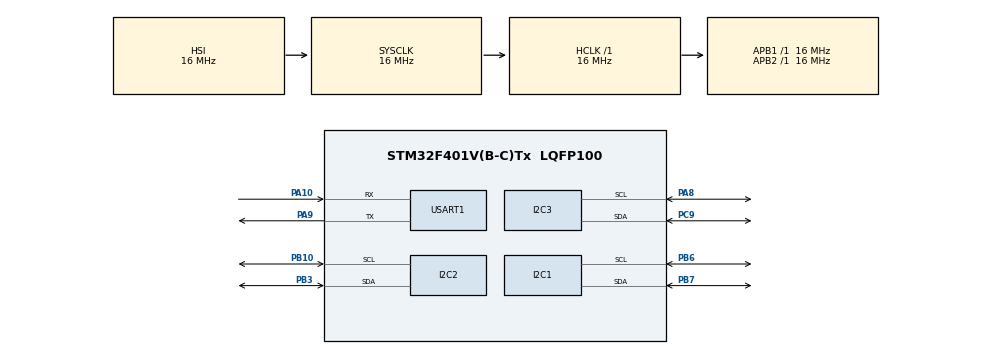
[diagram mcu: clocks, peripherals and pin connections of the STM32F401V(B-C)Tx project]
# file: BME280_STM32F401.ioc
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Mcu.Family=STM32F4
Mcu.Name=STM32F401V(B-C)Tx
Mcu.Package=LQFP100
NVIC.PriorityGroup=NVIC_PRIORITYGROUP_4
PA10.Mode=Asynchronous
PA10.Signal=USART1_RX
PA13.Mode=Serial_Wire
PA13.Signal=SYS_JTMS-SWDIO
PA14.Mode=Serial_Wire
PA14.Signal=SYS_JTCK-SWCLK
PA8.Mode=I2C
PA8.Signal=I2C3_SCL
PA9.Mode=Asynchronous
PA9.Signal=USART1_TX
PB10.Mode=I2C
PB10.Signal=I2C2_SCL
PB3.Mode=I2C
PB3.Signal=I2C2_SDA
PB6.Mode=I2C
PB6.Signal=I2C1_SCL
PB7.Mode=I2C
PB7.Signal=I2C1_SDA
PC9.Mode=I2C
PC9.Signal=I2C3_SDA
ProjectManager.HeapSize=0x200
ProjectManager.StackSize=0x400
ProjectManager.TargetToolchain=STM32CubeIDE
RCC.AHBFreq_Value=16000000
RCC.APB1Freq_Value=16000000
RCC.APB2Freq_Value=16000000
RCC.CortexFreq_Value=16000000
RCC.HSE_VALUE=25000000
RCC.HSI_VALUE=16000000
RCC.LSE_VALUE=32768
RCC.SYSCLKFreq_VALUE=16000000
RCC.VCOOutputFreq_Value=192000000
USART1.VirtualMode=VM_ASYNC
board=custom

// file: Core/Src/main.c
/* USER CODE BEGIN Header */
/**
  ******************************************************************************
  * @file           : main.c
  * @brief          : Main program body
  ******************************************************************************
  * @attention
  *
  * Copyright (c) 2023 STMicroelectronics.
  * All rights reserved.
  *
  * This software is licensed under terms that can be found in the LICENSE file
  * in the root directory of this software component.
  * If no LICENSE file comes with this software, it is provided AS-IS.
  *
  ******************************************************************************
  */
/* USER CODE END Header */
#include "main.h"

/* USER CODE BEGIN Includes */
#include <stdlib.h>
#include <string.h>
#include <stdio.h>
#include "sensors.h"
#include "queue.h"
/* USER CODE END Includes */

I2C_HandleTypeDef hi2c1;
I2C_HandleTypeDef hi2c2;
I2C_HandleTypeDef hi2c3;

UART_HandleTypeDef huart1;

/* USER CODE BEGIN PV */
// Assume I defined a .c file in which I implement the bodies of the function defined in sensors.h file
// and these values are coming from this .c file.
extern float temperature;
extern float humidity;
extern float co2;
float temp_arr[10];
float humi_arr[10];
float co2_arr[10];
uint8_t filtered_arr_size;
float *filtered_temp_arr;
float *filtered_humi_arr;
float *filtered_co2_arr;
struct queueNode **headPtr_temp;
struct queueNode **tailPtr_temp;
struct queueNode **headPtr_humi;
struct queueNode **tailPtr_humi;
struct queueNode **headPtr_co2;
struct queueNode **tailPtr_co2;
char error_msg[20];
char output[50];

/* USER CODE END PV */

void SystemClock_Config(void);
static void MX_GPIO_Init(void);
static void MX_I2C1_Init(void);
static void MX_USART1_UART_Init(void);
static void MX_I2C2_Init(void);
static void MX_I2C3_Init(void);
/* USER CODE BEGIN PFP */

float  *filter_sensor_value(float *raw_sensor_value, size_t size, uint8_t window_size);
void	sort_array(float *raw_sensor_value, size_t size);
void 	swap(float *n1, float *n2);
/* USER CODE END PFP */

int main(void)
{
  /* USER CODE BEGIN 1 */
	int idx = 0;
	uint8_t window_size = 3;
	headPtr_temp = tailPtr_temp = NULL;
	headPtr_humi = tailPtr_humi = NULL;
	headPtr_co2 = tailPtr_co2 = NULL;
  /* USER CODE END 1 */

  /* MCU Configuration--------------------------------------------------------*/

  /* Reset of all peripherals, Initializes the Flash interface and the Systick. */
  HAL_Init();

  /* Configure the system clock */
  SystemClock_Config();

  /* Initialize all configured peripherals */
  MX_GPIO_Init();
  MX_I2C1_Init();
  MX_USART1_UART_Init();
  MX_I2C2_Init();
  MX_I2C3_Init();
  /* USER CODE BEGIN 2 */
  //BME_280_config(OSRS_2, OSRS_16, OSRS_1, NORMAL_MODE, SB_0p5_MS, FLT_COEFF_16);
  // Sensor initialization
  if (initTempSensor() != HAL_OK)
  {
	  strcpy(error_msg,"Temp Sensor Init Failed!");
	  return SENSOR_ERROR;
  }
  if (initHumiditySensor() != HAL_OK)
  {
	  strcpy(error_msg, "Humidity Sensor Init Failed!");
	  return SENSOR_ERROR;
  }
  if (initCO2Sensor() != HAL_OK)
  {
	  strcpy(error_msg, "CO2 Sensor Init Failed!");
	  return SENSOR_ERROR;
  }
  /* USER CODE END 2 */

  /* Infinite loop */
  /* USER CODE BEGIN WHILE */
  while (1)
  {
	  sprintf(output, "Temp: %.2f - Humidity: %.2f - CO2: %.2f\r\n", temperature, humidity, co2);
	  HAL_UART_Transmit(&huart1, (uint8_t*)output, strlen(output), 100);
	  HAL_Delay(50);
	  temp_arr[idx] = temperature;
	  humi_arr[idx] = humidity;
	  co2_arr[idx++] = co2;
	  if (idx == 10)
	  {
		  filtered_temp_arr = filter_sensor_value(temp_arr, idx, window_size);
		  filtered_humi_arr = filter_sensor_value(humi_arr, idx, window_size);
		  filtered_co2_arr = filter_sensor_value(co2_arr, idx, window_size);
		  array2queue(headPtr_temp, tailPtr_temp, filtered_temp_arr, idx - window_size + 1);
		  array2queue(headPtr_humi, tailPtr_humi, filtered_humi_arr, idx - window_size + 1);
		  array2queue(headPtr_co2, tailPtr_co2, filtered_co2_arr, idx - window_size + 1);
		  idx = 0;
	  }
    /* USER CODE END WHILE */

  }
}

void SystemClock_Config(void)
{
  RCC_OscInitTypeDef RCC_OscInitStruct = {0};
  RCC_ClkInitTypeDef RCC_ClkInitStruct = {0};

  /** Configure the main internal regulator output voltage
  */
  __HAL_RCC_PWR_CLK_ENABLE();
  __HAL_PWR_VOLTAGESCALING_CONFIG(PWR_REGULATOR_VOLTAGE_SCALE2);

  /** Initializes the RCC Oscillators according to the specified parameters
  * in the RCC_OscInitTypeDef structure.
  */
  RCC_OscInitStruct.OscillatorType = RCC_OSCILLATORTYPE_HSI;
  RCC_OscInitStruct.HSIState = RCC_HSI_ON;
  RCC_OscInitStruct.HSICalibrationValue = RCC_HSICALIBRATION_DEFAULT;
  RCC_OscInitStruct.PLL.PLLState = RCC_PLL_NONE;
  if (HAL_RCC_OscConfig(&RCC_OscInitStruct) != HAL_OK)
  {
    Error_Handler();
  }

  /** Initializes the CPU, AHB and APB buses clocks
  */
  RCC_ClkInitStruct.ClockType = RCC_CLOCKTYPE_HCLK|RCC_CLOCKTYPE_SYSCLK
                              |RCC_CLOCKTYPE_PCLK1|RCC_CLOCKTYPE_PCLK2;
  RCC_ClkInitStruct.SYSCLKSource = RCC_SYSCLKSOURCE_HSI;
  RCC_ClkInitStruct.AHBCLKDivider = RCC_SYSCLK_DIV1;
  RCC_ClkInitStruct.APB1CLKDivider = RCC_HCLK_DIV1;
  RCC_ClkInitStruct.APB2CLKDivider = RCC_HCLK_DIV1;

  if (HAL_RCC_ClockConfig(&RCC_ClkInitStruct, FLASH_LATENCY_0) != HAL_OK)
  {
    Error_Handler();
  }
}

static void MX_I2C1_Init(void)
{

  hi2c1.Instance = I2C1;
  hi2c1.Init.ClockSpeed = 100000;
  hi2c1.Init.DutyCycle = I2C_DUTYCYCLE_2;
  hi2c1.Init.OwnAddress1 = 0;
  hi2c1.Init.AddressingMode = I2C_ADDRESSINGMODE_7BIT;
  hi2c1.Init.DualAddressMode = I2C_DUALADDRESS_DISABLE;
  hi2c1.Init.OwnAddress2 = 0;
  hi2c1.Init.GeneralCallMode = I2C_GENERALCALL_DISABLE;
  hi2c1.Init.NoStretchMode = I2C_NOSTRETCH_DISABLE;
  if (HAL_I2C_Init(&hi2c1) != HAL_OK)
  {
    Error_Handler();
  }

}

static void MX_I2C2_Init(void)
{

  hi2c2.Instance = I2C2;
  hi2c2.Init.ClockSpeed = 100000;
  hi2c2.Init.DutyCycle = I2C_DUTYCYCLE_2;
  hi2c2.Init.OwnAddress1 = 0;
  hi2c2.Init.AddressingMode = I2C_ADDRESSINGMODE_7BIT;
  hi2c2.Init.DualAddressMode = I2C_DUALADDRESS_DISABLE;
  hi2c2.Init.OwnAddress2 = 0;
  hi2c2.Init.GeneralCallMode = I2C_GENERALCALL_DISABLE;
  hi2c2.Init.NoStretchMode = I2C_NOSTRETCH_DISABLE;
  if (HAL_I2C_Init(&hi2c2) != HAL_OK)
  {
    Error_Handler();
  }

}

static void MX_I2C3_Init(void)
{

  hi2c3.Instance = I2C3;
  hi2c3.Init.ClockSpeed = 100000;
  hi2c3.Init.DutyCycle = I2C_DUTYCYCLE_2;
  hi2c3.Init.OwnAddress1 = 0;
  hi2c3.Init.AddressingMode = I2C_ADDRESSINGMODE_7BIT;
  hi2c3.Init.DualAddressMode = I2C_DUALADDRESS_DISABLE;
  hi2c3.Init.OwnAddress2 = 0;
  hi2c3.Init.GeneralCallMode = I2C_GENERALCALL_DISABLE;
  hi2c3.Init.NoStretchMode = I2C_NOSTRETCH_DISABLE;
  if (HAL_I2C_Init(&hi2c3) != HAL_OK)
  {
    Error_Handler();
  }

}

static void MX_USART1_UART_Init(void)
{

  huart1.Instance = USART1;
  huart1.Init.BaudRate = 115200;
  huart1.Init.WordLength = UART_WORDLENGTH_8B;
  huart1.Init.StopBits = UART_STOPBITS_1;
  huart1.Init.Parity = UART_PARITY_NONE;
  huart1.Init.Mode = UART_MODE_TX_RX;
  huart1.Init.HwFlowCtl = UART_HWCONTROL_NONE;
  huart1.Init.OverSampling = UART_OVERSAMPLING_16;
  if (HAL_UART_Init(&huart1) != HAL_OK)
  {
    Error_Handler();
  }

}

static void MX_GPIO_Init(void)
{

  /* GPIO Ports Clock Enable */
  __HAL_RCC_GPIOB_CLK_ENABLE();
  __HAL_RCC_GPIOC_CLK_ENABLE();
  __HAL_RCC_GPIOA_CLK_ENABLE();

}

/* USER CODE BEGIN 4 */
void 	swap(float *n1, float *n2)
{
	float swap = *n1;
	*n1 = *n2;
	*n2 = swap;
}

void	sort_array(float *raw_sensor_value, size_t size)
{
	for (int i = 0; i < size - 1; ++i) {
		for (int j = i + 1; j < size; ++j) {
			if (raw_sensor_value[i] > raw_sensor_value[j])
				swap(&raw_sensor_value[i], &raw_sensor_value[j]);
		}
	}
}

float *filter_sensor_value(float *raw_sensor_value, size_t size, uint8_t window_size)
{
	sort_array(raw_sensor_value, size); // sorting is needed to find median value
	int median_idx;
	float *filtered_arr = (float*)malloc(sizeof(float) * (size - window_size + 1));
	filtered_arr_size = (size - window_size + 1);
	for (int var = 0; var <= size - window_size; ++var) {
		median_idx = (var + window_size) / 2;
		if (window_size % 2)
			filtered_arr[var] = raw_sensor_value[median_idx];
		else // if window size is even, get the mean
			filtered_arr[var] = (raw_sensor_value[median_idx] + raw_sensor_value[median_idx + 1]) / 2.0;
	}
	return filtered_arr;
}

/* USER CODE END 4 */

void Error_Handler(void)
{
  __disable_irq();
  while (1)
  {
  }
}
